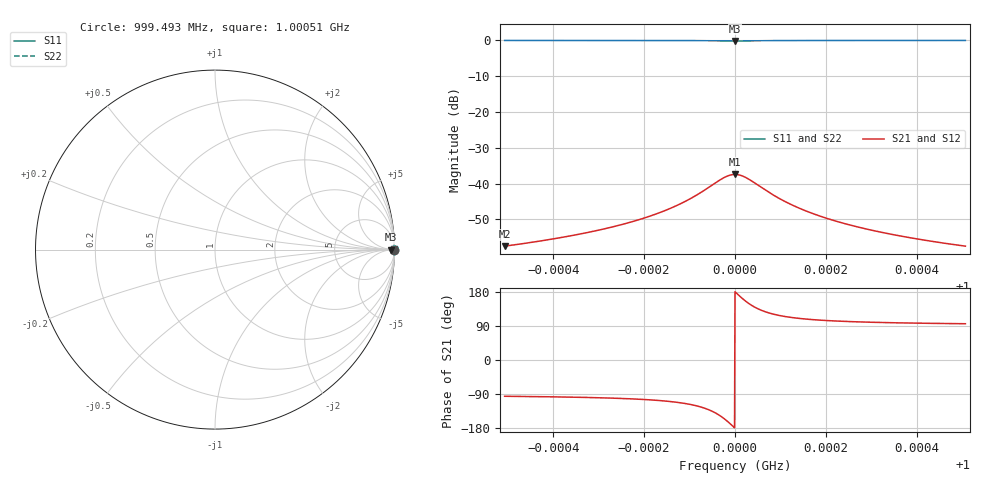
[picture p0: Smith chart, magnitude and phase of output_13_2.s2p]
! File generated for n1 = 13, n2 = 2
! b1 = 0.010000
! b2 = 0.004642
! Q0 = 10000.000000
! f0 = 1000000000.000000
! n = 1001
! rel_span = 10.000000
# Hz S RI R 50
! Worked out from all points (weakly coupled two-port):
!   1001 points, 999.493 MHz to 1.00051 GHz, reference 50 ohm
!   highest |S21| = -37.44 dB at 1 GHz (marker M1); lowest = -57.5 dB at 999.493 MHz (marker M2)
!   lowest |S11| = -0.2 dB at 1 GHz (marker M3), VSWR 100.46, Z = 5.02e+03 + j0 ohm
!   |S11| at or under -10 dB: nowhere
!   |S22| runs from -0.1 to 0.0 dB; largest |S21 - S12| = 0
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9.994927e8  0.9998 -0.00195  -0.000133 -0.00133  -0.000133 -0.00133  0.9999 -0.000906
9.995799e8  0.9997 -0.00235  -0.000193 -0.0016  -0.000193 -0.0016  0.9999 -0.00109
9.996621e8  0.9996 -0.00289  -0.000296 -0.00197  -0.000296 -0.00197  0.9998 -0.00134
9.997555e8  0.9992 -0.00392  -0.000554 -0.00267  -0.000554 -0.00267  0.9996 -0.00182
9.99795e8  0.9989 -0.0046  -0.000775 -0.00313  -0.000775 -0.00313  0.9995 -0.00213
9.998316e8  0.9984 -0.00544  -0.00112 -0.00371  -0.00112 -0.00371  0.9992 -0.00253
9.998671e8  0.9975 -0.00657  -0.00171 -0.00447  -0.00171 -0.00447  0.9988 -0.00305
9.998985e8  0.9961 -0.00788  -0.00269 -0.00537  -0.00269 -0.00537  0.9982 -0.00366
9.999229e8  0.994 -0.00905  -0.00406 -0.00617  -0.00406 -0.00617  0.9972 -0.0042
9.999767e8  0.9837 -0.00748  -0.0111 -0.0051  -0.0111 -0.0051  0.9924 -0.00347
9.999888e8  0.9812 -0.00414  -0.0128 -0.00282  -0.0128 -0.00282  0.9913 -0.00192
1e9  0.9803 0  -0.0134 0  -0.0134 0  0.9909 0
1.000011e9  0.9812 0.00414  -0.0128 0.00282  -0.0128 0.00282  0.9913 0.00192
1.000023e9  0.9837 0.00748  -0.0111 0.0051  -0.0111 0.0051  0.9924 0.00347
1.000077e9  0.994 0.00905  -0.00406 0.00617  -0.00406 0.00617  0.9972 0.0042
1.000101e9  0.9961 0.00788  -0.00269 0.00537  -0.00269 0.00537  0.9982 0.00366
1.000134e9  0.9975 0.00653  -0.00169 0.00445  -0.00169 0.00445  0.9989 0.00303
1.000169e9  0.9984 0.00542  -0.0011 0.00369  -0.0011 0.00369  0.9992 0.00251
1.000246e9  0.9992 0.00391  -0.00055 0.00266  -0.00055 0.00266  0.9996 0.00181
1.000339e9  0.9996 0.00289  -0.000294 0.00197  -0.000294 0.00197  0.9998 0.00134
1.000421e9  0.9997 0.00234  -0.000192 0.0016  -0.000192 0.0016  0.9999 0.00109
1.000507e9  0.9998 0.00195  -0.000133 0.00133  -0.000133 0.00133  0.9999 0.000906
